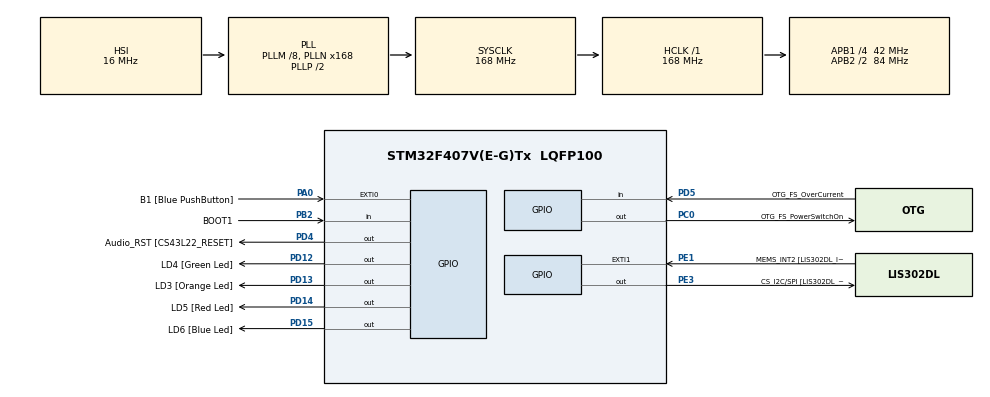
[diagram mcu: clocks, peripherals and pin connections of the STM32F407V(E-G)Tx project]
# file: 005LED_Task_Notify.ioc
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Mcu.Family=STM32F4
Mcu.Name=STM32F407V(E-G)Tx
Mcu.Package=LQFP100
NVIC.PriorityGroup=NVIC_PRIORITYGROUP_4
NVIC.TIM6_DAC_IRQn=true\:0\:0\:false\:false\:true\:false\:true\:true
NVIC.TimeBase=TIM6_DAC_IRQn
NVIC.TimeBaseIP=TIM6
PA0-WKUP.GPIO_Label=B1 [Blue PushButton]
PA0-WKUP.Signal=GPXTI0
PA10.GPIO_Label=OTG_FS_ID
PA10.GPIO_Mode=GPIO_MODE_AF_PP
PA10.GPIO_PuPd=GPIO_NOPULL
PA10.GPIO_Speed=GPIO_SPEED_FREQ_LOW
PA10.Signal=USB_OTG_FS_ID
PA11.GPIO_Label=OTG_FS_DM
PA11.GPIO_Mode=GPIO_MODE_AF_PP
PA11.GPIO_PuPd=GPIO_NOPULL
PA11.GPIO_Speed=GPIO_SPEED_FREQ_LOW
PA11.Signal=USB_OTG_FS_DM
PA12.GPIO_Label=OTG_FS_DP
PA12.GPIO_Mode=GPIO_MODE_AF_PP
PA12.GPIO_PuPd=GPIO_NOPULL
PA12.GPIO_Speed=GPIO_SPEED_FREQ_LOW
PA12.Signal=USB_OTG_FS_DP
PA13.GPIO_Label=SWDIO
PA13.Signal=SYS_JTMS-SWDIO
PA14.GPIO_Label=SWCLK
PA14.Signal=SYS_JTCK-SWCLK
PA4.GPIO_Label=I2S3_WS [CS43L22_LRCK]
PA4.GPIO_Mode=GPIO_MODE_AF_PP
PA4.GPIO_PuPd=GPIO_NOPULL
PA4.GPIO_Speed=GPIO_SPEED_FREQ_LOW
PA4.Signal=I2S3_WS
PA5.GPIO_Label=SPI1_SCK [LIS302DL_SCL/SPC]
PA5.GPIO_Mode=GPIO_MODE_AF_PP
PA5.GPIO_PuPd=GPIO_NOPULL
PA5.GPIO_Speed=GPIO_SPEED_FREQ_LOW
PA5.Signal=SPI1_SCK
PA6.GPIO_Label=SPI1_MISO [LIS302DL_SDO]
PA6.GPIO_Mode=GPIO_MODE_AF_PP
PA6.GPIO_PuPd=GPIO_NOPULL
PA6.GPIO_Speed=GPIO_SPEED_FREQ_LOW
PA6.Signal=SPI1_MISO
PA7.GPIO_Label=SPI1_MOSI [LIS302DL_SDA/SDI/SDO]
PA7.GPIO_Mode=GPIO_MODE_AF_PP
PA7.GPIO_PuPd=GPIO_NOPULL
PA7.GPIO_Speed=GPIO_SPEED_FREQ_LOW
PA7.Signal=SPI1_MOSI
PA9.GPIO_Label=VBUS_FS
PA9.GPIO_Mode=GPIO_MODE_INPUT
PA9.GPIO_PuPd=GPIO_NOPULL
PA9.Signal=USB_OTG_FS_VBUS
PB10.GPIO_Label=CLK_IN [MP45DT02_CLK]
PB10.GPIO_Mode=GPIO_MODE_AF_PP
PB10.GPIO_PuPd=GPIO_NOPULL
PB10.GPIO_Speed=GPIO_SPEED_FREQ_LOW
PB10.Signal=I2S2_CK
PB2.GPIO_Label=BOOT1
PB2.GPIO_Mode=GPIO_MODE_INPUT
PB2.GPIO_PuPd=GPIO_NOPULL
PB2.Signal=GPIO_Input
PB3.GPIO_Label=SWO
PB3.Signal=SYS_JTDO-SWO
PB6.GPIO_Label=Audio_SCL [CS43L22_SCL]
PB6.GPIO_Mode=GPIO_MODE_AF_OD
PB6.GPIO_PuPd=GPIO_NOPULL
PB6.GPIO_Speed=GPIO_SPEED_FREQ_LOW
PB6.Signal=I2C1_SCL
PB9.GPIO_Label=Audio_SDA [CS43L22_SDA]
PB9.GPIO_Mode=GPIO_MODE_AF_OD
PB9.GPIO_PuPd=GPIO_NOPULL
PB9.GPIO_Speed=GPIO_SPEED_FREQ_LOW
PB9.Signal=I2C1_SDA
PC0.GPIO_Label=OTG_FS_PowerSwitchOn
PC0.GPIO_PuPd=GPIO_NOPULL
PC0.GPIO_Speed=GPIO_SPEED_FREQ_LOW
PC0.PinState=GPIO_PIN_SET
PC0.Signal=GPIO_Output
PC10.GPIO_Label=I2S3_SCK [CS43L22_SCLK]
PC10.GPIO_Mode=GPIO_MODE_AF_PP
PC10.GPIO_PuPd=GPIO_NOPULL
PC10.GPIO_Speed=GPIO_SPEED_FREQ_LOW
PC10.Signal=I2S3_CK
PC12.GPIO_Label=I2S3_SD [CS43L22_SDIN]
PC12.GPIO_Mode=GPIO_MODE_AF_PP
PC12.GPIO_PuPd=GPIO_NOPULL
PC12.GPIO_Speed=GPIO_SPEED_FREQ_LOW
PC12.Signal=I2S3_SD
PC14-OSC32_IN.GPIO_Label=PC14-OSC32_IN
PC14-OSC32_IN.Signal=RCC_OSC32_IN
PC15-OSC32_OUT.GPIO_Label=PC15-OSC32_OUT
PC15-OSC32_OUT.Signal=RCC_OSC32_OUT
PC3.GPIO_Label=PDM_OUT [MP45DT02_DOUT]
PC3.GPIO_Mode=GPIO_MODE_AF_PP
PC3.GPIO_PuPd=GPIO_NOPULL
PC3.GPIO_Speed=GPIO_SPEED_FREQ_LOW
PC3.Signal=I2S2_SD
PC7.GPIO_Label=I2S3_MCK [CS43L22_MCLK]
PC7.GPIO_Mode=GPIO_MODE_AF_PP
PC7.GPIO_PuPd=GPIO_NOPULL
PC7.GPIO_Speed=GPIO_SPEED_FREQ_LOW
PC7.Signal=I2S3_MCK
PD12.GPIO_Label=LD4 [Green Led]
PD12.GPIO_PuPd=GPIO_NOPULL
PD12.GPIO_Speed=GPIO_SPEED_FREQ_LOW
PD12.Signal=GPIO_Output
PD13.GPIO_Label=LD3 [Orange Led]
PD13.GPIO_PuPd=GPIO_NOPULL
PD13.GPIO_Speed=GPIO_SPEED_FREQ_LOW
PD13.Signal=GPIO_Output
PD14.GPIO_Label=LD5 [Red Led]
PD14.GPIO_PuPd=GPIO_NOPULL
PD14.GPIO_Speed=GPIO_SPEED_FREQ_LOW
PD14.Signal=GPIO_Output
PD15.GPIO_Label=LD6 [Blue Led]
PD15.GPIO_PuPd=GPIO_NOPULL
PD15.GPIO_Speed=GPIO_SPEED_FREQ_LOW
PD15.Signal=GPIO_Output
PD4.GPIO_Label=Audio_RST [CS43L22_RESET]
PD4.GPIO_PuPd=GPIO_NOPULL
PD4.GPIO_Speed=GPIO_SPEED_FREQ_LOW
PD4.Signal=GPIO_Output
PD5.GPIO_Label=OTG_FS_OverCurrent
PD5.GPIO_Mode=GPIO_MODE_INPUT
PD5.GPIO_PuPd=GPIO_NOPULL
PD5.Signal=GPIO_Input
PE1.GPIO_Label=MEMS_INT2 [LIS302DL_INT2]
PE1.GPIO_ModeDefaultEXTI=GPIO_MODE_EVT_RISING
PE1.GPIO_PuPd=GPIO_NOPULL
PE1.Signal=GPXTI1
PE3.GPIO_Label=CS_I2C/SPI [LIS302DL_CS_I2C/SPI]
PE3.GPIO_PuPd=GPIO_NOPULL
PE3.GPIO_Speed=GPIO_SPEED_FREQ_LOW
PE3.Signal=GPIO_Output
PH0-OSC_IN.GPIO_Label=PH0-OSC_IN
PH0-OSC_IN.Signal=RCC_OSC_IN
PH1-OSC_OUT.GPIO_Label=PH1-OSC_OUT
PH1-OSC_OUT.Signal=RCC_OSC_OUT
ProjectManager.HeapSize=0x200
ProjectManager.StackSize=0x400
ProjectManager.TargetToolchain=STM32CubeIDE
RCC.48MHZClocksFreq_Value=48000000
RCC.AHBFreq_Value=168000000
RCC.APB1CLKDivider=RCC_HCLK_DIV4
RCC.APB1Freq_Value=42000000
RCC.APB1TimFreq_Value=84000000
RCC.APB2CLKDivider=RCC_HCLK_DIV2
RCC.APB2Freq_Value=84000000
RCC.APB2TimFreq_Value=168000000
RCC.CortexFreq_Value=168000000
RCC.HCLKFreq_Value=168000000
RCC.HSE_VALUE=8000000
RCC.HSI_VALUE=16000000
RCC.LSE_VALUE=32768
RCC.PLLM=8
RCC.PLLN=168
RCC.PLLQ=7
RCC.SYSCLKFreq_VALUE=168000000
RCC.SYSCLKSource=RCC_SYSCLKSOURCE_PLLCLK
RCC.VCOOutputFreq_Value=336000000
VP_SYS_VS_tim6.Mode=TIM6
board=STM32F407G-DISC1

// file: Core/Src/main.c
/* USER CODE BEGIN Header */
/**
  ******************************************************************************
  * @file           : main.c
  * @brief          : Main program body
  ******************************************************************************
  * @attention
  *
  * Copyright (c) 2025 STMicroelectronics.
  * All rights reserved.
  *
  * This software is licensed under terms that can be found in the LICENSE file
  * in the root directory of this software component.
  * If no LICENSE file comes with this software, it is provided AS-IS.
  *
  ******************************************************************************
  */
/* USER CODE END Header */
#include "main.h"

/* USER CODE BEGIN Includes */
#include "FreeRTOS.h"
#include "task.h"
/* USER CODE END Includes */

/* USER CODE BEGIN PV */
#define DWT_CTRL 			(*(volatile uint32_t*)0xE0001000)
/* USER CODE END PV */

void SystemClock_Config(void);
static void MX_GPIO_Init(void);
/* USER CODE BEGIN PFP */

static void led_green_handler(void* parameters);
static void led_orange_handler(void* parameters);
static void led_red_handler(void* parameters);
static void button_handler(void* parameters);

TaskHandle_t ledg_task_handle;
TaskHandle_t ledo_task_handle;
TaskHandle_t ledr_task_handle;
TaskHandle_t btn_task_handle;

extern void SEGGER_UART_init(uint32_t);

TaskHandle_t volatile next_task_handle = NULL; //shared data all task uses this global variable

/* USER CODE END PFP */

int main(void)
{

  /* USER CODE BEGIN 1 */

	BaseType_t status;
  /* USER CODE END 1 */

  /* MCU Configuration--------------------------------------------------------*/

  /* Reset of all peripherals, Initializes the Flash interface and the Systick. */
  HAL_Init();

  /* Configure the system clock */
  SystemClock_Config();

  /* Initialize all configured peripherals */
  MX_GPIO_Init();
  /* USER CODE BEGIN 2 */

  SEGGER_UART_init(500000);

  //CYCLCNT enable
  DWT_CTRL |= (1 << 0);

  SEGGER_SYSVIEW_Conf(); //for uart communucation

  status = xTaskCreate(led_green_handler, "LED_green_task", 200, NULL, 3, &ledg_task_handle); //task1_handle is own TCB address

  configASSERT(status == pdPASS);

  next_task_handle = ledg_task_handle;

  status = xTaskCreate(led_red_handler, "LED_red_task", 200, NULL, 1, &ledr_task_handle);

  configASSERT(status == pdPASS);

  status = xTaskCreate(led_orange_handler, "LED_orange_task", 200, NULL, 2, &ledo_task_handle);

  configASSERT(status == pdPASS);

  status = xTaskCreate(button_handler, "Button Task", 200, NULL, 4, &btn_task_handle);

  configASSERT(status == pdPASS);

  //start the freeRTOS scheduler
  vTaskStartScheduler();

  /* USER CODE END 2 */

  /* Infinite loop */
  while (1)
  {

  }
}

void SystemClock_Config(void)
{
  RCC_OscInitTypeDef RCC_OscInitStruct = {0};
  RCC_ClkInitTypeDef RCC_ClkInitStruct = {0};

  /** Configure the main internal regulator output voltage
  */
  __HAL_RCC_PWR_CLK_ENABLE();
  __HAL_PWR_VOLTAGESCALING_CONFIG(PWR_REGULATOR_VOLTAGE_SCALE1);

  /** Initializes the RCC Oscillators according to the specified parameters
  * in the RCC_OscInitTypeDef structure.
  */
  RCC_OscInitStruct.OscillatorType = RCC_OSCILLATORTYPE_HSI;
  RCC_OscInitStruct.HSIState = RCC_HSI_ON;
  RCC_OscInitStruct.HSICalibrationValue = RCC_HSICALIBRATION_DEFAULT;
  RCC_OscInitStruct.PLL.PLLState = RCC_PLL_ON;
  RCC_OscInitStruct.PLL.PLLSource = RCC_PLLSOURCE_HSI;
  RCC_OscInitStruct.PLL.PLLM = 8;
  RCC_OscInitStruct.PLL.PLLN = 168;
  RCC_OscInitStruct.PLL.PLLP = RCC_PLLP_DIV2;
  RCC_OscInitStruct.PLL.PLLQ = 7;
  if (HAL_RCC_OscConfig(&RCC_OscInitStruct) != HAL_OK)
  {
    Error_Handler();
  }

  /** Initializes the CPU, AHB and APB buses clocks
  */
  RCC_ClkInitStruct.ClockType = RCC_CLOCKTYPE_HCLK|RCC_CLOCKTYPE_SYSCLK
                              |RCC_CLOCKTYPE_PCLK1|RCC_CLOCKTYPE_PCLK2;
  RCC_ClkInitStruct.SYSCLKSource = RCC_SYSCLKSOURCE_PLLCLK;
  RCC_ClkInitStruct.AHBCLKDivider = RCC_SYSCLK_DIV1;
  RCC_ClkInitStruct.APB1CLKDivider = RCC_HCLK_DIV4;
  RCC_ClkInitStruct.APB2CLKDivider = RCC_HCLK_DIV2;

  if (HAL_RCC_ClockConfig(&RCC_ClkInitStruct, FLASH_LATENCY_5) != HAL_OK)
  {
    Error_Handler();
  }
}

static void MX_GPIO_Init(void)
{
  GPIO_InitTypeDef GPIO_InitStruct = {0};

  /* GPIO Ports Clock Enable */
  __HAL_RCC_GPIOE_CLK_ENABLE();
  __HAL_RCC_GPIOC_CLK_ENABLE();
  __HAL_RCC_GPIOH_CLK_ENABLE();
  __HAL_RCC_GPIOA_CLK_ENABLE();
  __HAL_RCC_GPIOB_CLK_ENABLE();
  __HAL_RCC_GPIOD_CLK_ENABLE();

  /*Configure GPIO pin Output Level */
  HAL_GPIO_WritePin(CS_I2C_SPI_GPIO_Port, CS_I2C_SPI_Pin, GPIO_PIN_RESET);

  /*Configure GPIO pin Output Level */
  HAL_GPIO_WritePin(OTG_FS_PowerSwitchOn_GPIO_Port, OTG_FS_PowerSwitchOn_Pin, GPIO_PIN_SET);

  /*Configure GPIO pin Output Level */
  HAL_GPIO_WritePin(GPIOD, LD4_Pin|LD3_Pin|LD5_Pin|LD6_Pin
                          |Audio_RST_Pin, GPIO_PIN_RESET);

  /*Configure GPIO pin : CS_I2C_SPI_Pin */
  GPIO_InitStruct.Pin = CS_I2C_SPI_Pin;
  GPIO_InitStruct.Mode = GPIO_MODE_OUTPUT_PP;
  GPIO_InitStruct.Pull = GPIO_NOPULL;
  GPIO_InitStruct.Speed = GPIO_SPEED_FREQ_LOW;
  HAL_GPIO_Init(CS_I2C_SPI_GPIO_Port, &GPIO_InitStruct);

  /*Configure GPIO pin : OTG_FS_PowerSwitchOn_Pin */
  GPIO_InitStruct.Pin = OTG_FS_PowerSwitchOn_Pin;
  GPIO_InitStruct.Mode = GPIO_MODE_OUTPUT_PP;
  GPIO_InitStruct.Pull = GPIO_NOPULL;
  GPIO_InitStruct.Speed = GPIO_SPEED_FREQ_LOW;
  HAL_GPIO_Init(OTG_FS_PowerSwitchOn_GPIO_Port, &GPIO_InitStruct);

  /*Configure GPIO pin : PDM_OUT_Pin */
  GPIO_InitStruct.Pin = PDM_OUT_Pin;
  GPIO_InitStruct.Mode = GPIO_MODE_AF_PP;
  GPIO_InitStruct.Pull = GPIO_NOPULL;
  GPIO_InitStruct.Speed = GPIO_SPEED_FREQ_LOW;
  GPIO_InitStruct.Alternate = GPIO_AF5_SPI2;
  HAL_GPIO_Init(PDM_OUT_GPIO_Port, &GPIO_InitStruct);

  /*Configure GPIO pin : B1_Pin */
  GPIO_InitStruct.Pin = B1_Pin;
  GPIO_InitStruct.Mode = GPIO_MODE_IT_RISING;
  GPIO_InitStruct.Pull = GPIO_NOPULL;
  HAL_GPIO_Init(B1_GPIO_Port, &GPIO_InitStruct);

  /*Configure GPIO pin : I2S3_WS_Pin */
  GPIO_InitStruct.Pin = I2S3_WS_Pin;
  GPIO_InitStruct.Mode = GPIO_MODE_AF_PP;
  GPIO_InitStruct.Pull = GPIO_NOPULL;
  GPIO_InitStruct.Speed = GPIO_SPEED_FREQ_LOW;
  GPIO_InitStruct.Alternate = GPIO_AF6_SPI3;
  HAL_GPIO_Init(I2S3_WS_GPIO_Port, &GPIO_InitStruct);

  /*Configure GPIO pins : SPI1_SCK_Pin SPI1_MISO_Pin SPI1_MOSI_Pin */
  GPIO_InitStruct.Pin = SPI1_SCK_Pin|SPI1_MISO_Pin|SPI1_MOSI_Pin;
  GPIO_InitStruct.Mode = GPIO_MODE_AF_PP;
  GPIO_InitStruct.Pull = GPIO_NOPULL;
  GPIO_InitStruct.Speed = GPIO_SPEED_FREQ_LOW;
  GPIO_InitStruct.Alternate = GPIO_AF5_SPI1;
  HAL_GPIO_Init(GPIOA, &GPIO_InitStruct);

  /*Configure GPIO pin : BOOT1_Pin */
  GPIO_InitStruct.Pin = BOOT1_Pin;
  GPIO_InitStruct.Mode = GPIO_MODE_INPUT;
  GPIO_InitStruct.Pull = GPIO_NOPULL;
  HAL_GPIO_Init(BOOT1_GPIO_Port, &GPIO_InitStruct);

  /*Configure GPIO pin : CLK_IN_Pin */
  GPIO_InitStruct.Pin = CLK_IN_Pin;
  GPIO_InitStruct.Mode = GPIO_MODE_AF_PP;
  GPIO_InitStruct.Pull = GPIO_NOPULL;
  GPIO_InitStruct.Speed = GPIO_SPEED_FREQ_LOW;
  GPIO_InitStruct.Alternate = GPIO_AF5_SPI2;
  HAL_GPIO_Init(CLK_IN_GPIO_Port, &GPIO_InitStruct);

  /*Configure GPIO pins : LD4_Pin LD3_Pin LD5_Pin LD6_Pin
                           Audio_RST_Pin */
  GPIO_InitStruct.Pin = LD4_Pin|LD3_Pin|LD5_Pin|LD6_Pin
                          |Audio_RST_Pin;
  GPIO_InitStruct.Mode = GPIO_MODE_OUTPUT_PP;
  GPIO_InitStruct.Pull = GPIO_NOPULL;
  GPIO_InitStruct.Speed = GPIO_SPEED_FREQ_LOW;
  HAL_GPIO_Init(GPIOD, &GPIO_InitStruct);

  /*Configure GPIO pins : I2S3_MCK_Pin I2S3_SCK_Pin I2S3_SD_Pin */
  GPIO_InitStruct.Pin = I2S3_MCK_Pin|I2S3_SCK_Pin|I2S3_SD_Pin;
  GPIO_InitStruct.Mode = GPIO_MODE_AF_PP;
  GPIO_InitStruct.Pull = GPIO_NOPULL;
  GPIO_InitStruct.Speed = GPIO_SPEED_FREQ_LOW;
  GPIO_InitStruct.Alternate = GPIO_AF6_SPI3;
  HAL_GPIO_Init(GPIOC, &GPIO_InitStruct);

  /*Configure GPIO pin : VBUS_FS_Pin */
  GPIO_InitStruct.Pin = VBUS_FS_Pin;
  GPIO_InitStruct.Mode = GPIO_MODE_INPUT;
  GPIO_InitStruct.Pull = GPIO_NOPULL;
  HAL_GPIO_Init(VBUS_FS_GPIO_Port, &GPIO_InitStruct);

  /*Configure GPIO pins : OTG_FS_ID_Pin OTG_FS_DM_Pin OTG_FS_DP_Pin */
  GPIO_InitStruct.Pin = OTG_FS_ID_Pin|OTG_FS_DM_Pin|OTG_FS_DP_Pin;
  GPIO_InitStruct.Mode = GPIO_MODE_AF_PP;
  GPIO_InitStruct.Pull = GPIO_NOPULL;
  GPIO_InitStruct.Speed = GPIO_SPEED_FREQ_LOW;
  GPIO_InitStruct.Alternate = GPIO_AF10_OTG_FS;
  HAL_GPIO_Init(GPIOA, &GPIO_InitStruct);

  /*Configure GPIO pin : OTG_FS_OverCurrent_Pin */
  GPIO_InitStruct.Pin = OTG_FS_OverCurrent_Pin;
  GPIO_InitStruct.Mode = GPIO_MODE_INPUT;
  GPIO_InitStruct.Pull = GPIO_NOPULL;
  HAL_GPIO_Init(OTG_FS_OverCurrent_GPIO_Port, &GPIO_InitStruct);

  /*Configure GPIO pins : Audio_SCL_Pin Audio_SDA_Pin */
  GPIO_InitStruct.Pin = Audio_SCL_Pin|Audio_SDA_Pin;
  GPIO_InitStruct.Mode = GPIO_MODE_AF_OD;
  GPIO_InitStruct.Pull = GPIO_NOPULL;
  GPIO_InitStruct.Speed = GPIO_SPEED_FREQ_LOW;
  GPIO_InitStruct.Alternate = GPIO_AF4_I2C1;
  HAL_GPIO_Init(GPIOB, &GPIO_InitStruct);

  /*Configure GPIO pin : MEMS_INT2_Pin */
  GPIO_InitStruct.Pin = MEMS_INT2_Pin;
  GPIO_InitStruct.Mode = GPIO_MODE_EVT_RISING;
  GPIO_InitStruct.Pull = GPIO_NOPULL;
  HAL_GPIO_Init(MEMS_INT2_GPIO_Port, &GPIO_InitStruct);

}

/* USER CODE BEGIN 4 */
static void led_green_handler(void *parameters){
	BaseType_t status;
	while(1){
		SEGGER_SYSVIEW_PrintfTarget("Toggling green led");
		HAL_GPIO_TogglePin(GPIOD, LED_GREEN_PIN);
		status = xTaskNotifyWait(0, 0, NULL, pdMS_TO_TICKS(1000));
		if(status == pdTRUE){
			vTaskSuspendAll();
			next_task_handle = ledo_task_handle;
			xTaskResumeAll();
			HAL_GPIO_WritePin(GPIOD, LED_GREEN_PIN, GPIO_PIN_SET);
			SEGGER_SYSVIEW_PrintfTarget("Deleting green led task");
			vTaskDelete(NULL);
		}
	}
}

static void led_orange_handler(void *parameters){
	BaseType_t status;
	while(1){
		SEGGER_SYSVIEW_PrintfTarget("Toggling orange led");
		HAL_GPIO_TogglePin(GPIOD, LED_ORANGE_PIN);
		status = xTaskNotifyWait(0, 0, NULL, pdMS_TO_TICKS(800));
		if(status == pdTRUE){
			vTaskSuspendAll();
			next_task_handle = ledr_task_handle;
			xTaskResumeAll();
			HAL_GPIO_WritePin(GPIOD, LED_ORANGE_PIN, GPIO_PIN_SET);
			SEGGER_SYSVIEW_PrintfTarget("Deleting orange led task");
			vTaskDelete(NULL);
		}
	}
}

static void led_red_handler(void *parameters){
	BaseType_t status;
	while(1){
		SEGGER_SYSVIEW_PrintfTarget("Toggling red led");
		HAL_GPIO_TogglePin(GPIOD, LED_RED_PIN);
		status = xTaskNotifyWait(0, 0, NULL, pdMS_TO_TICKS(400));
		if(status == pdTRUE){
			vTaskSuspendAll();
			next_task_handle = NULL;
			xTaskResumeAll();
			HAL_GPIO_WritePin(GPIOD, LED_RED_PIN, GPIO_PIN_SET);
			vTaskDelete(btn_task_handle);
			SEGGER_SYSVIEW_PrintfTarget("Deleting red led task");
			vTaskDelete(NULL);
		}
	}
}

static void button_handler(void* parameters){
	uint8_t btn_read = 0;
	uint8_t prev_read = 0;

	while(1){
		btn_read = HAL_GPIO_ReadPin(GPIOA, GPIO_PIN_0);
		if(btn_read){
			if(!prev_read){
				xTaskNotify(next_task_handle, 0, eNoAction);
			}
		}
		prev_read = btn_read;
		vTaskDelay(pdMS_TO_TICKS(10));
	}
}
/* USER CODE END 4 */

void HAL_TIM_PeriodElapsedCallback(TIM_HandleTypeDef *htim)
{
  if (htim->Instance == TIM6)
  {
    HAL_IncTick();
  }
}

void Error_Handler(void)
{
  __disable_irq();
  while (1)
  {
  }
}
